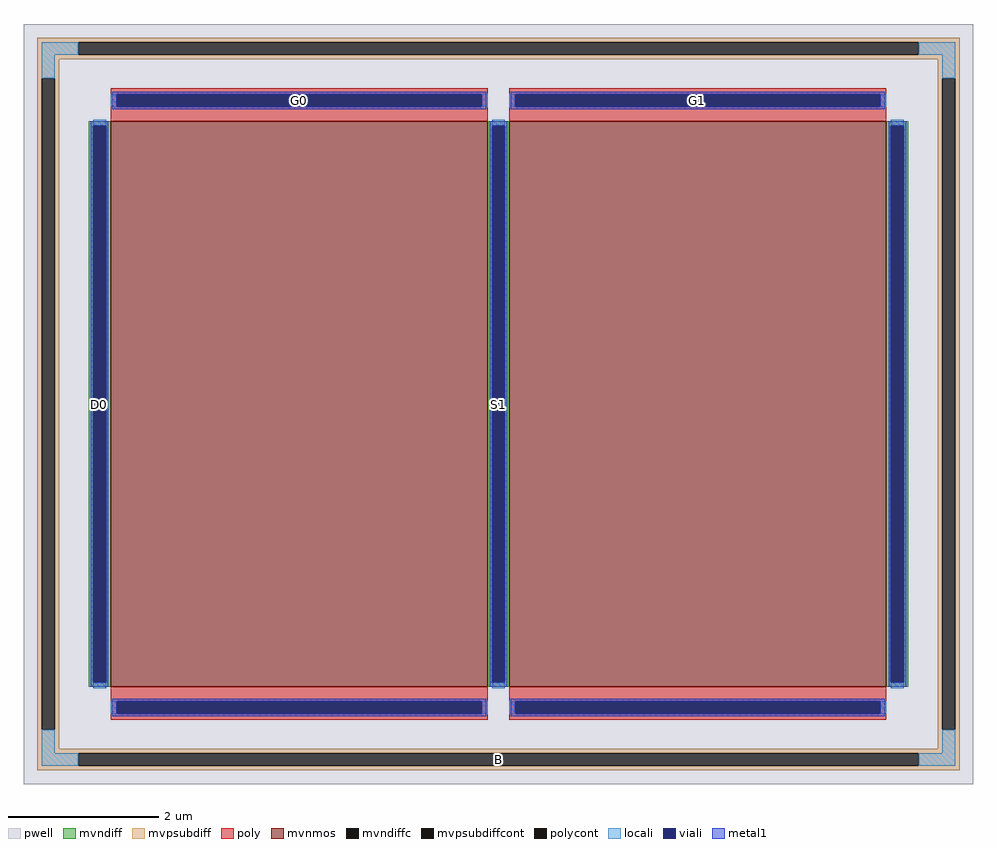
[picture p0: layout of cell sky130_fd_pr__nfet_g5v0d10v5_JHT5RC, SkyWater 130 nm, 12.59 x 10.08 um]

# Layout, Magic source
magic
tech sky130A
magscale 1 2
<< pwell >>
rect -1259 -1008 1259 1008
<< mvnmos >>
rect -1029 -750 -29 750
rect 29 -750 1029 750
<< mvndiff >>
rect -1087 738 -1029 750
rect -1087 -738 -1075 738
rect -1041 -738 -1029 738
rect -1087 -750 -1029 -738
rect -29 738 29 750
rect -29 -738 -17 738
rect 17 -738 29 738
rect -29 -750 29 -738
rect 1029 738 1087 750
rect 1029 -738 1041 738
rect 1075 -738 1087 738
rect 1029 -750 1087 -738
<< mvndiffc >>
rect -1075 -738 -1041 738
rect -17 -738 17 738
rect 1041 -738 1075 738
<< mvpsubdiff >>
rect -1223 960 1223 972
rect -1223 926 -1115 960
rect 1115 926 1223 960
rect -1223 914 1223 926
rect -1223 864 -1165 914
rect -1223 -864 -1211 864
rect -1177 -864 -1165 864
rect 1165 864 1223 914
rect -1223 -914 -1165 -864
rect 1165 -864 1177 864
rect 1211 -864 1223 864
rect 1165 -914 1223 -864
rect -1223 -926 1223 -914
rect -1223 -960 -1115 -926
rect 1115 -960 1223 -926
rect -1223 -972 1223 -960
<< mvpsubdiffcont >>
rect -1115 926 1115 960
rect -1211 -864 -1177 864
rect 1177 -864 1211 864
rect -1115 -960 1115 -926
<< poly >>
rect -1029 822 -29 838
rect -1029 788 -1013 822
rect -45 788 -29 822
rect -1029 750 -29 788
rect 29 822 1029 838
rect 29 788 45 822
rect 1013 788 1029 822
rect 29 750 1029 788
rect -1029 -788 -29 -750
rect -1029 -822 -1013 -788
rect -45 -822 -29 -788
rect -1029 -838 -29 -822
rect 29 -788 1029 -750
rect 29 -822 45 -788
rect 1013 -822 1029 -788
rect 29 -838 1029 -822
<< polycont >>
rect -1013 788 -45 822
rect 45 788 1013 822
rect -1013 -822 -45 -788
rect 45 -822 1013 -788
<< locali >>
rect -1211 926 -1115 960
rect 1115 926 1211 960
rect -1211 864 -1177 926
rect 1177 864 1211 926
rect -1029 788 -1013 822
rect -45 788 -29 822
rect 29 788 45 822
rect 1013 788 1029 822
rect -1075 738 -1041 754
rect -1075 -754 -1041 -738
rect -17 738 17 754
rect -17 -754 17 -738
rect 1041 738 1075 754
rect 1041 -754 1075 -738
rect -1029 -822 -1013 -788
rect -45 -822 -29 -788
rect 29 -822 45 -788
rect 1013 -822 1029 -788
rect -1211 -926 -1177 -864
rect 1177 -926 1211 -864
rect -1211 -960 -1115 -926
rect 1115 -960 1211 -926
<< viali >>
rect -1013 788 -45 822
rect 45 788 1013 822
rect -1075 -738 -1041 738
rect -17 -738 17 738
rect 1041 -738 1075 738
rect -1013 -822 -45 -788
rect 45 -822 1013 -788
<< metal1 >>
rect -1025 822 -33 828
rect -1025 788 -1013 822
rect -45 788 -33 822
rect -1025 782 -33 788
rect 33 822 1025 828
rect 33 788 45 822
rect 1013 788 1025 822
rect 33 782 1025 788
rect -1081 738 -1035 750
rect -1081 -738 -1075 738
rect -1041 -738 -1035 738
rect -1081 -750 -1035 -738
rect -23 738 23 750
rect -23 -738 -17 738
rect 17 -738 23 738
rect -23 -750 23 -738
rect 1035 738 1081 750
rect 1035 -738 1041 738
rect 1075 -738 1081 738
rect 1035 -750 1081 -738
rect -1025 -788 -33 -782
rect -1025 -822 -1013 -788
rect -45 -822 -33 -788
rect -1025 -828 -33 -822
rect 33 -788 1025 -782
rect 33 -822 45 -788
rect 1013 -822 1025 -788
rect 33 -828 1025 -822
<< labels >>
rlabel mvpsubdiffcont 0 -943 0 -943 0 B
port 1 nsew
rlabel mvndiffc -1058 0 -1058 0 0 D0
port 2 nsew
rlabel polycont -529 805 -529 805 0 G0
port 3 nsew
rlabel mvndiffc 0 0 0 0 0 S1
port 4 nsew
rlabel polycont 529 805 529 805 0 G1
port 5 nsew
<< properties >>
string FIXED_BBOX -1194 -943 1194 943
string gencell sky130_fd_pr__nfet_g5v0d10v5
string library sky130
string parameters w 7.5 l 5 m 1 nf 2 diffcov 100 polycov 100 guard 1 glc 1 grc 1 gtc 1 gbc 1 tbcov 100 rlcov 100 topc 1 botc 1 poverlap 0 doverlap 1 lmin 0.50 wmin 0.42 class mosfet compatible {sky130_fd_pr__nfet_01v8 sky130_fd_pr__nfet_01v8_lvt  sky130_fd_bs_flash__special_sonosfet_star  sky130_fd_pr__nfet_g5v0d10v5 sky130_fd_pr__nfet_05v0_nvt  sky130_fd_pr__nfet_03v3_nvt} full_metal 1 conn_gates 0 viasrc 100 viadrn 100 viagate 100 viagb 0 viagr 0 viagl 0 viagt 0 doports 1
<< end >>
